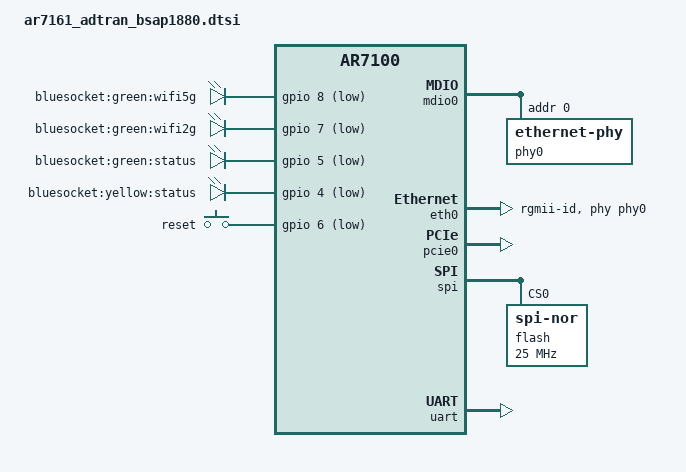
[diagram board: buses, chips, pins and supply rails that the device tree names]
// SPDX-License-Identifier: GPL-2.0-or-later OR MIT

#include <dt-bindings/gpio/gpio.h>
#include <dt-bindings/input/input.h>

#include "ar7100.dtsi"

/ {
	chosen {
		bootargs = "console=ttyS0,115200n8";
	};

	aliases {
		led-boot = &led_status_green;
		led-failsafe = &led_status_yellow;
		led-running = &led_status_green;
		led-upgrade = &led_status_yellow;
	};

	leds {
		compatible = "gpio-leds";

		wlan5g {
			label = "bluesocket:green:wifi5g";
			gpios = <&gpio 8 GPIO_ACTIVE_LOW>;
			linux,default-trigger = "phy1tpt";
		};

		wlan2g {
			label = "bluesocket:green:wifi2g";
			gpios = <&gpio 7 GPIO_ACTIVE_LOW>;
			linux,default-trigger = "phy0tpt";
		};

		led_status_green: status_green {
			label = "bluesocket:green:status";
			gpios = <&gpio 5 GPIO_ACTIVE_LOW>;
		};

		led_status_yellow: status_yellow {
			label = "bluesocket:yellow:status";
			gpios = <&gpio 4 GPIO_ACTIVE_LOW>;
		};
	};

	keys {
		compatible = "gpio-keys";

		reset {
			label = "reset";
			linux,code = <KEY_RESTART>;
			gpios = <&gpio 6 GPIO_ACTIVE_LOW>;
			debounce-interval = <60>;
		};
	};
};

&mdio0 {
	status = "okay";

	phy-mask = <0x1>;

	phy0: ethernet-phy@0 {
		reg = <0>;
	};
};

&eth0 {
	status = "okay";

	phy-mode = "rgmii-id";
	phy-handle = <&phy0>;
};

&pcie0 {
	status = "okay";
};

&spi {
	status = "okay";

	num-cs = <1>;

	flash@0 {
		compatible = "jedec,spi-nor";
		reg = <0>;
		spi-max-frequency = <25000000>;

		partitions {
			#address-cells = <1>;
			#size-cells = <1>;
			compatible = "ecoscentric,redboot-fis-partitions";
		};
	};
};

&uart {
	status = "okay";
};
